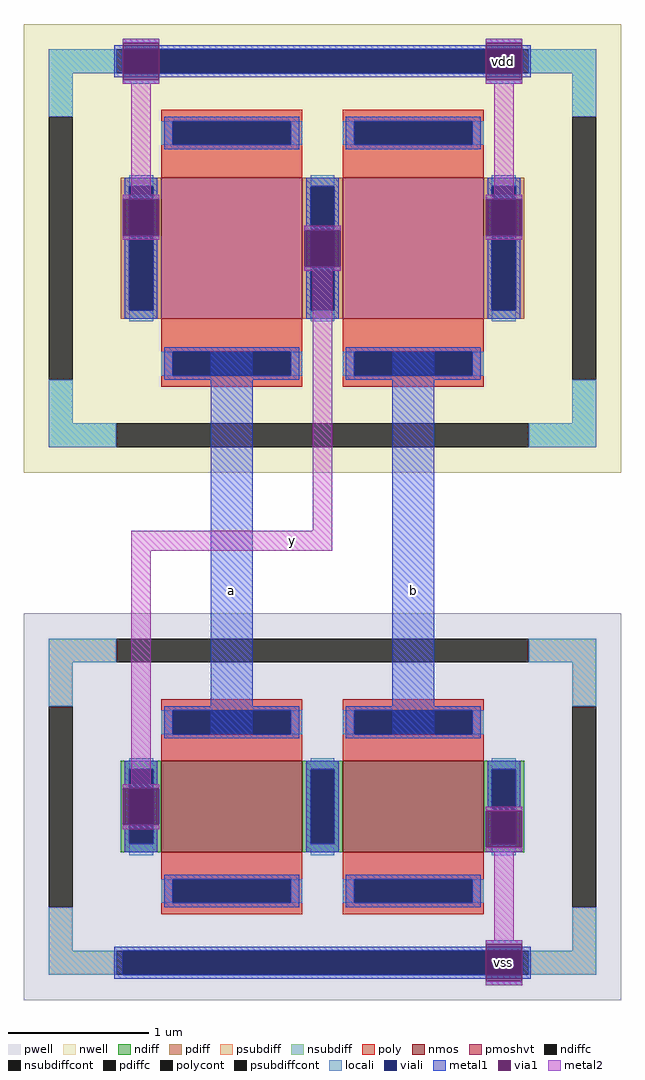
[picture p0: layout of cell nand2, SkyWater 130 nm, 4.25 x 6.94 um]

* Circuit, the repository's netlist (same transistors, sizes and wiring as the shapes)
* SPDX-License-Identifier: Apache-2.0
* Copyright 2026 Mauro Rodriguez Blasco
*
* The encoder's two-input NAND, drawn like a standard cell. The PMOS in parallel share their
* output column, vdd | y | vdd, so y has one column; the NMOS in series share their middle
* column, y | mid | vss. Input a is the NMOS next to y. Reference for LVS (scripts/flow.py lvs nand2).
.subckt nand2 a b y vdd vss
XP1 y a vdd vdd sky130_fd_pr__pfet_01v8_hvt w=1 l=1
XP2 y b vdd vdd sky130_fd_pr__pfet_01v8_hvt w=1 l=1
XN1 y a mid vss sky130_fd_pr__nfet_01v8 w=0.65 l=1
XN2 mid b vss vss sky130_fd_pr__nfet_01v8 w=0.65 l=1
.ends nand2

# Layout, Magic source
magic
tech sky130A
magscale 1 2
<< metal1 >>
rect 88 1308 140 1314
rect 88 1250 140 1256
rect 604 1308 656 1314
rect 604 1250 656 1256
rect 88 1086 140 1092
rect 604 1086 656 1092
rect 88 1028 140 1034
rect 346 1042 398 1048
rect 604 1028 656 1034
rect 346 984 398 990
rect 213 325 273 869
rect 471 325 531 869
rect 88 248 140 254
rect 88 190 140 196
rect 604 216 656 222
rect 604 158 656 164
rect 604 26 656 32
rect 604 -32 656 -26
<< via1 >>
rect 88 1256 140 1308
rect 604 1256 656 1308
rect 88 1034 140 1086
rect 346 990 398 1042
rect 604 1034 656 1086
rect 88 196 140 248
rect 604 164 656 216
rect 604 -26 656 26
<< metal2 >>
rect 88 1308 140 1314
rect 88 1250 140 1256
rect 604 1308 656 1314
rect 604 1250 656 1256
rect 100 1092 128 1250
rect 616 1092 644 1250
rect 88 1086 140 1092
rect 604 1086 656 1092
rect 88 1028 140 1034
rect 346 1042 398 1048
rect 604 1028 656 1034
rect 346 984 398 990
rect 358 614 386 984
rect 100 586 386 614
rect 100 254 128 586
rect 88 248 140 254
rect 88 190 140 196
rect 604 216 656 222
rect 604 158 656 164
rect 616 32 644 158
rect 604 26 656 32
rect 604 -32 656 -26
use sky130_fd_pr__nfet_01v8_R85Q2S  XN
transform 1 0 372 0 1 222
box -425 -275 425 275
use sky130_fd_pr__pfet_01v8_hvt_8DTHA7  XP
transform 1 0 372 0 1 1016
box -425 -319 425 319
<< labels >>
flabel metal1 234 520 252 540 0 FreeSans 3 0 0 0 a
port 1 nsew
flabel metal1 492 520 510 540 0 FreeSans 3 0 0 0 b
port 2 nsew
flabel metal2 320 592 340 608 0 FreeSans 3 0 0 0 y
port 3 nsew
flabel via1 622 1274 638 1290 0 FreeSans 3 0 0 0 vdd
port 4 nsew
flabel via1 622 -8 638 8 0 FreeSans 3 0 0 0 vss
port 5 nsew
<< end >>

# cell sky130_fd_pr__nfet_01v8_R85Q2S: kit device sky130_fd_pr__nfet_01v8, w 0.65 l 1 m 1 nf 2 diffcov 100 polycov 100 guard 1 glc 1 grc 1 gtc 1 gbc 1 tbcov 100 rlcov 100 topc 1 botc 1 poverlap 0 doverlap 1 lmin 0.15 wmin 0.42 class mosfet compatible {sky130_fd_pr__nfet_01v8 sky130_fd_pr__nfet_01v8_lvt sky130_fd_bs_flash__special_sonosfet_star sky130_fd_pr__nfet_g5v0d10v5 sky130_fd_pr__nfet_05v0_nvt sky130_fd_pr__nfet_03v3_nvt} full_metal 1 conn_gates 0 viasrc 100 viadrn 100 viagate 100 viagb 80 viagr 0 viagl 0 viagt 0 doports 1

# cell sky130_fd_pr__pfet_01v8_hvt_8DTHA7: kit device sky130_fd_pr__pfet_01v8_hvt, w 1 l 1 m 1 nf 2 diffcov 100 polycov 100 guard 1 glc 1 grc 1 gtc 1 gbc 1 tbcov 100 rlcov 100 topc 1 botc 1 poverlap 0 doverlap 1 lmin 0.15 wmin 0.42 class mosfet compatible {sky130_fd_pr__pfet_01v8 sky130_fd_pr__pfet_01v8_lvt sky130_fd_pr__pfet_01v8_hvt sky130_fd_pr__pfet_g5v0d10v5} full_metal 1 conn_gates 0 viasrc 100 viadrn 100 viagate 100 viagb 0 viagr 0 viagl 0 viagt 80 doports 1
